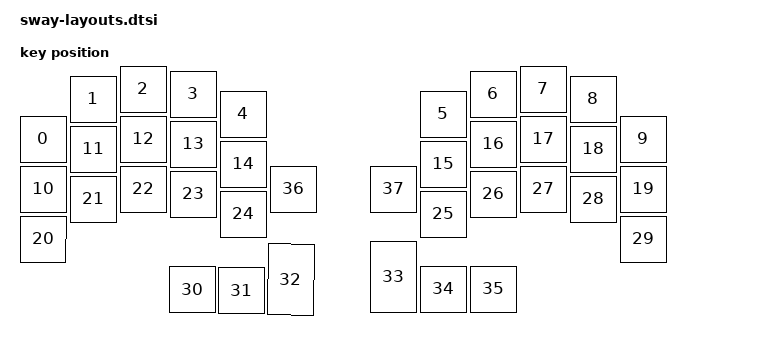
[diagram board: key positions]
/*
 * Copyright (c) 2022 The ZMK Contributors
 *
 * SPDX-License-Identifier: MIT
 */
#include <physical_layouts.dtsi>

/ {
	// physical_layout0: physical_layout_0 { // First physical layout, use different naming for other layouts
    //     compatible = "zmk,physical-layout";
    //     display-name = "Default Layout";
    //     kscan = <&kscan0>; // Label of the kscan node, optional if all layouts use the same
    //     transform = <&default_transform>; // Label of the matrix transform for this layout
    // };


    sway_physical_layout: sway_physical_layout {
        compatible = "zmk,physical-layout";
        display-name = "Default Layout";
        transform = <&default_transform>;
        kscan = <&kscan0>;
        keys  //                     w   h    x    y     rot    rx    ry

        // row 0
            = <&key_physical_attrs 100 100    0  100       8     0     0>
            , <&key_physical_attrs 100 100  100   20       5     0     0>
            , <&key_physical_attrs 100 100  200    0       0     0     0>
            , <&key_physical_attrs 100 100  300   10       0     0     0>
            , <&key_physical_attrs 100 100  400   50       0     0     0>
           
            , <&key_physical_attrs 100 100  800   50       0     0     0>
            , <&key_physical_attrs 100 100  900   10       0     0     0>
            , <&key_physical_attrs 100 100 1000    0       0     0     0>
            , <&key_physical_attrs 100 100 1100   20       0     0     0>
            , <&key_physical_attrs 100 100 1200  100       0     0     0>

            
        // row 1
            , <&key_physical_attrs 100 100  0    200       8     0     0>
            , <&key_physical_attrs 100 100  100  120       5     0     0>
            , <&key_physical_attrs 100 100  200  100       0     0     0>
            , <&key_physical_attrs 100 100  300  110       0     0     0>
            , <&key_physical_attrs 100 100  400  150       0     0     0>
            
            , <&key_physical_attrs 100 100  800  150       0     0     0>
            , <&key_physical_attrs 100 100  900  110       0     0     0>
            , <&key_physical_attrs 100 100 1000  100       0     0     0>
            , <&key_physical_attrs 100 100 1100  120       0     0     0>
            , <&key_physical_attrs 100 100 1200  200       0     0     0>
            
           
        // row 2
            , <&key_physical_attrs 100 100  0    300       6     0     0>
            , <&key_physical_attrs 100 100  100  220       5     0     0>
            , <&key_physical_attrs 100 100  200  200       0     0     0>
            , <&key_physical_attrs 100 100  300  210       0     0     0>
            , <&key_physical_attrs 100 100  400  250       0     0     0>
            
            , <&key_physical_attrs 100 100  800  250       0     0     0>
            , <&key_physical_attrs 100 100  900  210       0     0     0>
            , <&key_physical_attrs 100 100 1000  200       0     0     0>
            , <&key_physical_attrs 100 100 1100  220       0     0     0>
            , <&key_physical_attrs 100 100 1200  300       0     0     0>

           

            // thumbs left
            , <&key_physical_attrs 100 100 300  400       22     0     0>
            , <&key_physical_attrs 100 100 400  400       44     0     0>
            , <&key_physical_attrs 100 150 500  350       66     0     0>
            
            // thumbs right
            , <&key_physical_attrs 100 150  700 350       0     0     0>
            , <&key_physical_attrs 100 100  800 400       0     0     0>
            , <&key_physical_attrs 100 100  900 400       0     0     0>


            // encoders
            , <&key_physical_attrs 100 100 500  200       0     0     0>
            , <&key_physical_attrs 100 100 700  200       0     0     0>
            ;
    };

};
